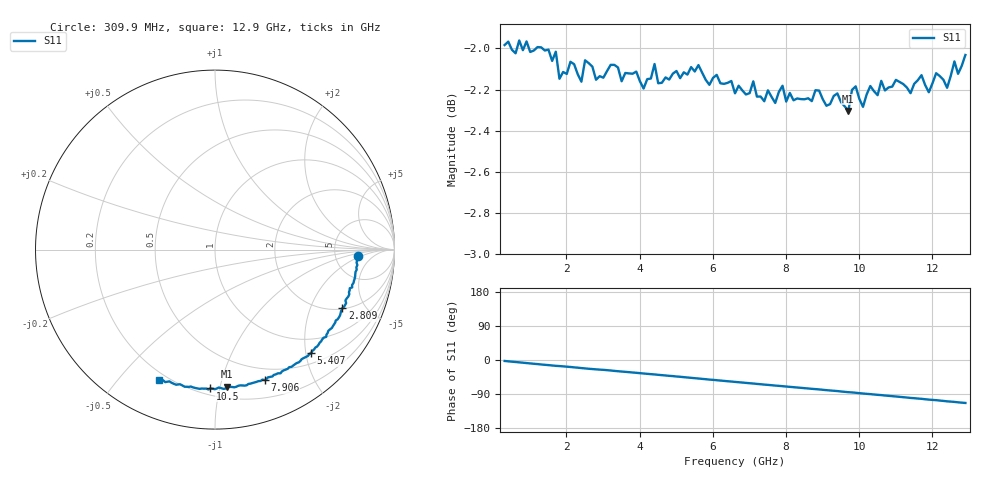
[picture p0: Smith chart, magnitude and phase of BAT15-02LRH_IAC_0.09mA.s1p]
! Infineon Technologies  Discrete & RF Semiconductors
! BAT15-02LRH
! IAC = 0.09 mA
! One-Port S-Parameters
# Hz  S  MA  R  50
!f  S11
!Hz  Mag  Ang
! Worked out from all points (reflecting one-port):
!   127 points, 309.9 MHz to 12.9 GHz, reference 50 ohm
!   lowest |S11| = -2.3 dB at 9.705 GHz (marker M1), VSWR 7.58, Z = 14.2 - j52.6 ohm
!   phase of S11 starts at -3 deg and turns -111 deg over the sweep
!   S11 on the Smith chart (normalised r, x): 309.9 MHz: 8.48, -1.64; 2.809 GHz: 2.05, -3.42; 5.407 GHz: 0.70, -2.11; 7.906 GHz: 0.38, -1.38; 10.5 GHz: 0.24, -0.94; 12.9 GHz: 0.17, -0.64
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3.0985e8  0.7958 -2.6
9.0955e8  0.7975 -8.1
1.70915e9  0.7929 -15.4
1.8091e9  0.781 -16.0
1.90905e9  0.784 -16.8
2.10895e9  0.7884 -18.4
2.4088e9  0.7797 -21.3
2.50875e9  0.7891 -22.2
2.8086e9  0.7805 -24.7
3.2084e9  0.7871 -27.7
3.50825e9  0.7799 -30.5
4.4078e9  0.7874 -38.1
5.10745e9  0.7812 -44.3
5.4073e9  0.7861 -47.0
6.6067e9  0.7746 -57.8
7.90605e9  0.7779 -69.1
8.2059e9  0.7716 -71.8
8.90555e9  0.7758 -77.6
9.70515e9  0.767 -84.9
9.8051e9  0.7762 -85.6
1.050475e10  0.7738 -91.9
1.10045e10  0.7805 -96.2
1.14043e10  0.7747 -100.0
1.170415e10  0.7825 -102.5
1.24038e10  0.777 -109.1
1.26037e10  0.7886 -110.6
1.270365e10  0.7831 -111.7
1.290355e10  0.7914 -113.3
